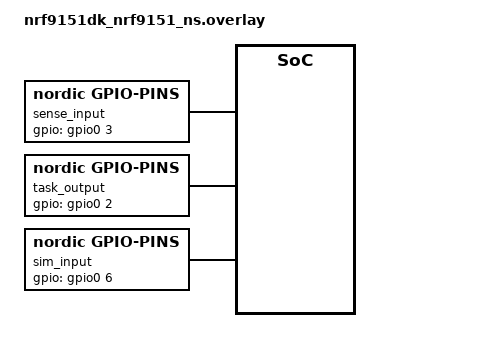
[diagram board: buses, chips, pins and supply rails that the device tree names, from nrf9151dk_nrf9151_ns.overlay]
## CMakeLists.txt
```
# SPDX-License-Identifier: Apache-2.0

cmake_minimum_required(VERSION 3.20.0)
find_package(Zephyr REQUIRED HINTS $ENV{ZEPHYR_BASE})
project(nrf_gpioqtask)

target_sources(app PRIVATE src/main.c)
```

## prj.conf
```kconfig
CONFIG_GPIO=y
CONFIG_NRFX_GPIOTE0=n
CONFIG_NRFX_GPIOTE1=y 
CONFIG_DK_LIBRARY=y

CONFIG_LOG=y
CONFIG_LOG_MODE_DEFERRED=y

CONFIG_ZERO_LATENCY_IRQS=y
```

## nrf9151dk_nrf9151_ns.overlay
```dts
/ {
    //we will simulate an output with p0.06 and feed that into p0.03
    sense_input: sense-input {
        compatible = "nordic,gpio-pins";
        gpios = <&gpio0 3 (GPIO_ACTIVE_HIGH | GPIO_PULL_DOWN)>;
        status = "okay";
    };

    task_output: task-output {
        compatible = "nordic,gpio-pins";
        gpios = <&gpio0 2 (GPIO_ACTIVE_HIGH)>;
        status = "okay";
    };

    sim_input: sim_input {
        compatible = "nordic,gpio-pins";
        gpios = <&gpio0 6 (GPIO_ACTIVE_HIGH)>;
        status = "okay";
    };
};

&gpio0 {
    status = "okay";
};

// gpiote periph. https://docs.nordicsemi.com/bundle/ps_nrf9151/page/gpiote.html
&gpiote {
    status = "okay";
};
```

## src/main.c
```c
/*
 * Copyright (c) 2025 Nordic Semiconductor ASA
 *
 * SPDX-License-Identifier: Apache-2.0
 * auth: ddhd
 */

#include <inttypes.h>
#include <zephyr/device.h>
#include <zephyr/drivers/gpio.h>
#include <zephyr/kernel.h>
#include <zephyr/logging/log.h>
#include <zephyr/sys/printk.h>
#include <zephyr/sys/util.h>

#include <nrfx_gpiote.h>

#define SLEEP_TIME_MS 1
#define SIMULATED_INPUT_INTERVAL 5
#define SIM_IP_THREAD_PRIO 0
#define STACKSIZE 512

#define NRFX_ISR_PIN 20

#define LOG_MODULE_NAME ngqt_main
LOG_MODULE_REGISTER(LOG_MODULE_NAME);

/* Get the GPIO spec from devicetree */
static const struct gpio_dt_spec sense_input = GPIO_DT_SPEC_GET(DT_NODELABEL(sense_input), gpios);
static const struct gpio_dt_spec task_output = GPIO_DT_SPEC_GET(DT_NODELABEL(task_output), gpios);

// this is an OUTPUT from the SiP into itself
static const struct gpio_dt_spec sim_input = GPIO_DT_SPEC_GET(DT_NODELABEL(sim_input), gpios);

static struct gpio_dt_spec led = GPIO_DT_SPEC_GET_OR(DT_ALIAS(led0), gpios, {0});

static struct gpio_callback sense_input_cb;

volatile uint8_t g_sens_cnt = 0;
uint32_t g_missed_event = 0;

k_tid_t main_thread_id;

struct sense_work
{
    struct k_work work;
    uint8_t cnt;
} sense_work_container;

void sense_work_fn(struct k_work *item)
{
    LOG_INF("sens_work_fn");
    /* clear output pin to see work latency from isr */
    gpio_pin_set_dt(&task_output, 0);
    if (g_sens_cnt > 0)
    {
        LOG_INF("sens_missed");
        g_missed_event++;
    }
    k_wakeup(main_thread_id);
}

/* Interrupt callback: set output high when input is high */
void sense_input_isr(const struct device *dev, struct gpio_callback *cb, uint32_t pins)
{
    //LOG_INF("sens_ISR");
    nrf_gpio_pin_set(NRFX_ISR_PIN);
    g_sens_cnt++;
    // /* Set the output pin high */
    // gpio_pin_set_dt(&task_output, 1);
    // /* submit work item to offload irq */
    // k_work_submit(&sense_work_container.work);
    nrf_gpio_pin_clear(NRFX_ISR_PIN);
}

#define SIM_INPUT_PIN 6
void simulate_input_thread(void)
{
    nrf_gpio_cfg_output(SIM_INPUT_PIN);
    nrf_gpio_pin_clear(SIM_INPUT_PIN);
    for (;;)
    {
        nrf_gpio_pin_set(SIM_INPUT_PIN);
        nrf_gpio_pin_clear(SIM_INPUT_PIN);
        //LOG_INF("sim_input");

        // gpio_pin_set_dt(&sim_input, 1);
        // gpio_pin_set_dt(&sim_input, 0);
        // k_sleep(K_MSEC(SIMULATED_INPUT_INTERVAL));
        k_yield();
    }
}

int main(void)
{
    int ret = 0;

    main_thread_id = k_current_get();

    //NRF_Px_DIRSET = (1 << NRFX_ISR_PIN), followed with OUTSET/CLR.
    nrf_gpio_cfg_output(NRFX_ISR_PIN);

    /* Configure output pin */
    gpio_pin_configure_dt(&task_output, GPIO_OUTPUT_INACTIVE);
    gpio_pin_configure_dt(&sim_input, GPIO_OUTPUT_INACTIVE);

    /* Configure input pin with interrupt on rising edge */
    gpio_pin_configure_dt(&sense_input, GPIO_INPUT | GPIO_PULL_DOWN);
    gpio_pin_interrupt_configure_dt(&sense_input, GPIO_INT_EDGE_RISING);

    /* Initialize and add callback */
    gpio_init_callback(&sense_input_cb, sense_input_isr, BIT(sense_input.pin));
    gpio_add_callback(sense_input.port, &sense_input_cb);

    /* set up LED */
    if (led.port && !gpio_is_ready_dt(&led))
    {
        LOG_INF("Error %d: LED device %s is not ready; ignoring it\n", ret, led.port->name);
        led.port = NULL;
    }
    if (led.port)
    {
        ret = gpio_pin_configure_dt(&led, GPIO_OUTPUT);
        if (ret != 0)
        {
            LOG_INF("Error %d: failed to configure LED device %s pin %d\n", ret, led.port->name, led.pin);
            led.port = NULL;
        }
        else
        {
            LOG_INF("Set up LED at %s pin %d\n", led.port->name, led.pin);
        }
    }
    //set up kernel work q
    k_work_init(&sense_work_container.work, sense_work_fn);

    for (;;)
    {
        if (g_sens_cnt > 0)
        {
            g_sens_cnt--;
            LOG_INF("sens detected in main");
            gpio_pin_set_dt(&led, 0);
            k_sleep(K_MSEC(10));
            gpio_pin_set_dt(&led, 1);
        }
        LOG_INF("main sleeping until kernel work item wakes it");
        k_sleep(K_FOREVER);
    }

    return 0;
}

K_THREAD_DEFINE(sim_input_thread_id, STACKSIZE, simulate_input_thread, NULL, NULL, NULL, SIM_IP_THREAD_PRIO, 0, 0);
```
